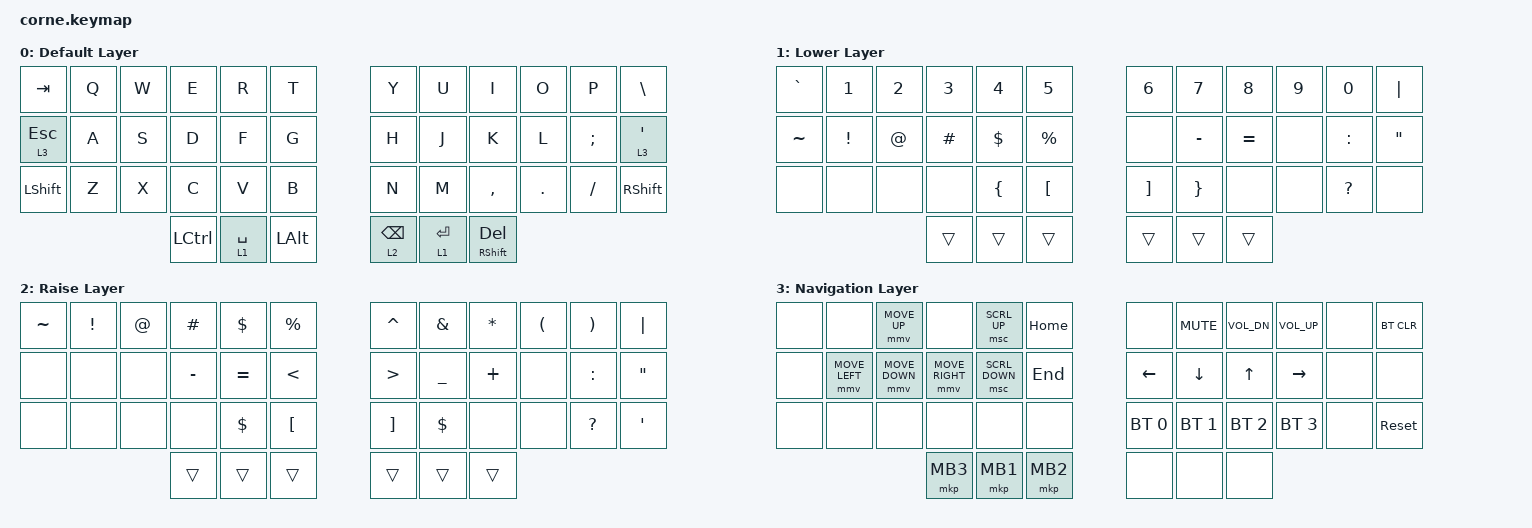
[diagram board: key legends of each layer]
/*
 * Copyright (c) 2020 The ZMK Contributors
 *
 * SPDX-License-Identifier: MIT
 */

#define ZMK_POINTING_DEFAULT_MOVE_VAL 1800  // default: 600
#define ZMK_POINTING_DEFAULT_SCRL_VAL 25    // default: 10

#include <behaviors.dtsi>
#include <dt-bindings/zmk/keys.h>
#include <dt-bindings/zmk/bt.h>
#include <dt-bindings/zmk/mouse.h>
#include <dt-bindings/zmk/pointing.h>
#include <dt-bindings/zmk/behaviors.h>


/ {
        behaviors {
          bsp_layer: bsp_layer {
            compatible = "zmk,behavior-hold-tap";
            label = "BSP_LAYER";
            #binding-cells = <2>;
            /* flavor = "tap-preferred"; */
            flavor = "balanced";
            tapping-term-ms = <250>;
            quick-tap-ms = <200>;
            bindings = <&mo>, <&kp>;
            display-name = "Mod Tap";
          };
        };

        keymap {
                compatible = "zmk,keymap";

                default_layer {
                        display-name = "Default Layer";
// -----------------------------------------------------------------------------------------
// |  TAB |  Q  |  W  |  E  |  R  |  T  |   |  Y  |  U   |  I  |  O  |  P  | BSPC |
// | CTRL |  A  |  S  |  D  |  F  |  G  |   |  H  |  J   |  K  |  L  |  ;  |  '   |
// | SHFT |  Z  |  X  |  C  |  V  |  B  |   |  N  |  M   |  ,  |  .  |  /  | ESC  |
//                    | GUI | LWR | SPC |   | ENT | RSE  | ALT |
bindings = <
  &kp TAB     &kp Q    &kp W    &kp E     &kp R       &kp T           &kp Y      &kp U       &kp I     &kp O    &kp P     &kp BSLH
  &lt 3 ESC   &kp A    &kp S    &kp D     &kp F       &kp G           &kp H      &kp J       &kp K     &kp L    &kp SEMI  &lt 3 APOS
  &kp LSHFT   &kp Z    &kp X    &kp C     &kp V       &kp B           &kp N      &kp M       &kp COMMA &kp DOT  &kp SLASH &kp RSHFT
                                &kp LCTRL &lt 1 SPACE &kp LALT        &bsp_layer 2 BSPC &lt 1 ENTER &mt RSHIFT DEL

                        >;
                };

                lower_layer {
                        display-name = "Lower Layer";
                        
bindings = <
  &kp GRAVE &kp N1   &kp N2 &kp N3   &kp N4           &kp N5                  &kp N6             &kp N7            &kp N8    &kp N9  &kp N0    &kp PIPE
  &kp TILDE &kp EXCL &kp AT &kp HASH &kp DOLLAR       &kp PERCENT             &none              &kp MINUS         &kp EQUAL &none   &kp COLON &kp DQT
  &none     &none    &none  &none    &kp LEFT_BRACE   &kp LEFT_BRACKET        &kp RIGHT_BRACKET  &kp RIGHT_BRACE   &none     &none   &kp QMARK &none
                            &trans   &trans           &trans                  &trans             &trans            &trans
                        >;
                };

                raise_layer {
                        display-name = "Raise Layer";
// -----------------------------------------------------------------------------------------
// |  TAB |  !  |  @  |  #  |  $  |  %  |   |  ^  |  &  |  *  |  (  |  )  | BSPC |
// | CTRL |     |     |     |     |     |   |  -  |  =  |  [  |  ]  |  \  |  `   |
// | SHFT |     |     |     |     |     |   |  _  |  +  |  {  |  }  | "|" |  ~   |
//                    | GUI |     | SPC |   | ENT |     | ALT |
                        bindings = <

&kp TILDE &kp EXCL &kp AT &kp HASH  &kp DOLLAR &kp PERCENT                   &kp CARET           &kp AMPS   &kp ASTERISK &kp LPAR &kp RPAR  &kp PIPE
&none     &none    &none  &kp MINUS &kp EQUAL  &kp LT                        &kp GT              &kp UNDER &kp PLUS     &none    &kp COLON &kp DQT
&none     &none    &none  &none     &kp DOLLAR &kp LEFT_BRACKET              &kp RIGHT_BRACKET   &kp DOLLAR  &none        &none    &kp QMARK &kp APOS
                              &trans &trans &trans        &trans &trans &trans

                        >;
                };
                
                nav_layer {
                  display-name = "Navigation Layer";

                  bindings = <
&none &none          &mmv MOVE_UP   &none           &msc SCRL_UP   &kp HOME     &none    &kp C_MUTE &kp C_VOL_DN &kp C_VOL_UP &none &bt BT_CLR
&none &mmv MOVE_LEFT &mmv MOVE_DOWN &mmv MOVE_RIGHT &msc SCRL_DOWN &kp END      &kp LEFT &kp DOWN   &kp UP       &kp RIGHT    &none &none
&none &none          &none          &none           &none          &none        &bt BT_SEL 0    &bt BT_SEL 1      &bt BT_SEL 2      &bt BT_SEL 3        &none &sys_reset
                          &mkp MB3 &mkp MB1 &mkp MB2        &none &none &none
  >;
                };
        };
};
